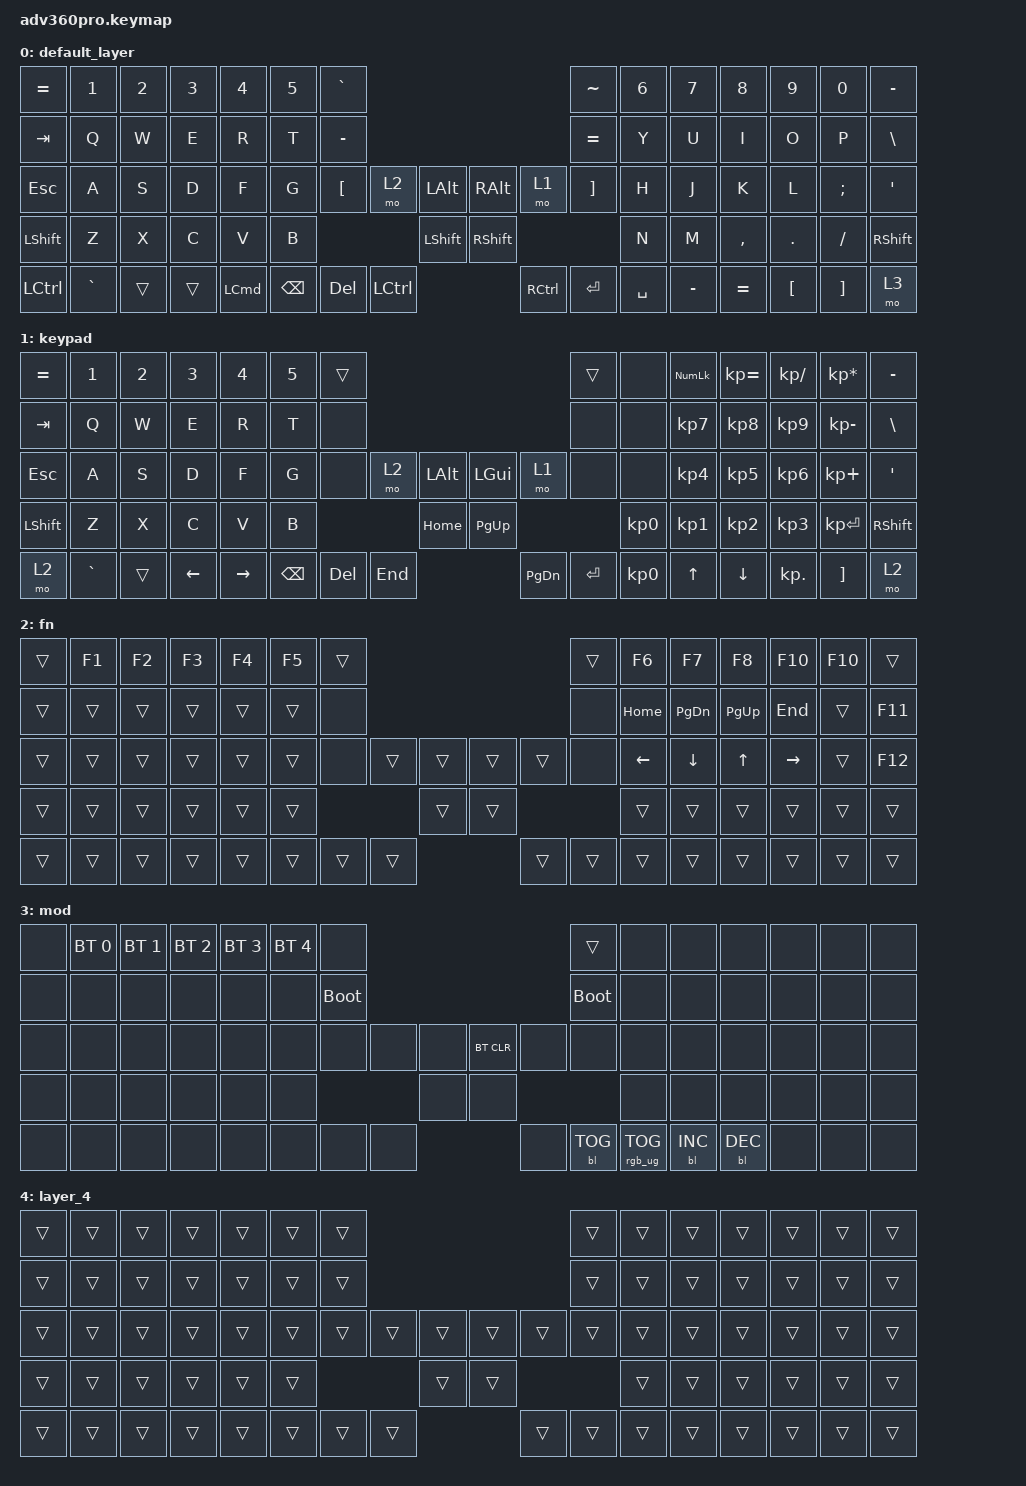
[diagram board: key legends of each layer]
#include <behaviors.dtsi>
#include <dt-bindings/zmk/backlight.h>
#include <dt-bindings/zmk/bt.h>
#include <dt-bindings/zmk/keys.h>
#include <dt-bindings/zmk/rgb.h>

/ {
    keymap {
        compatible = "zmk,keymap";

        default_layer {
            bindings = <
&kp EQUAL         &kp N1     &kp N2  &kp N3  &kp N4            &kp N5  &kp GRAVE                                                                                             &kp TILDE          &kp N6  &kp N7     &kp N8     &kp N9    &kp N0         &kp MINUS
&kp TAB           &kp Q      &kp W   &kp E   &kp R             &kp T   &kp MINUS                                                                                             &kp EQUAL          &kp Y   &kp U      &kp I      &kp O     &kp P          &kp BSLH
&kp ESC           &kp A      &kp S   &kp D   &kp F             &kp G   &kp LEFT_BRACKET                 &mo 2       &kp LALT          &kp RIGHT_ALT    &mo 1                 &kp RIGHT_BRACKET  &kp H   &kp J      &kp K      &kp L     &kp SEMICOLON  &kp SINGLE_QUOTE
&kp LSHFT         &kp Z      &kp X   &kp C   &kp V             &kp B                                                &kp LEFT_SHIFT    &kp RIGHT_SHIFT                                           &kp N   &kp M      &kp COMMA  &kp DOT   &kp FSLH       &kp RSHFT
&kp LEFT_CONTROL  &kp GRAVE  &trans  &trans  &kp LEFT_COMMAND                            &kp BACKSPACE  &kp DELETE  &kp LCTRL         &kp RCTRL        &kp ENTER  &kp SPACE                             &kp MINUS  &kp EQUAL  &kp LBKT  &kp RBKT       &mo 3
            >;
        };

        keypad {
            bindings = <
&kp EQUAL  &kp N1     &kp N2  &kp N3    &kp N4     &kp N5  &trans                                                                  &trans  &none            &kp KP_NUM  &kp KP_EQUAL  &kp KP_DIVIDE  &kp KP_MULTIPLY  &kp MINUS
&kp TAB    &kp Q      &kp W   &kp E     &kp R      &kp T   &none                                                                   &none   &none            &kp KP_N7   &kp KP_N8     &kp KP_N9      &kp KP_MINUS     &kp BSLH
&kp ESC    &kp A      &kp S   &kp D     &kp F      &kp G   &none             &mo 2    &kp LALT    &kp LGUI   &mo 1                 &none   &none            &kp KP_N4   &kp KP_N5     &kp KP_N6      &kp KP_PLUS      &kp SQT
&kp LSHFT  &kp Z      &kp X   &kp C     &kp V      &kp B                              &kp HOME    &kp PG_UP                                &kp KP_NUMBER_0  &kp KP_N1   &kp KP_N2     &kp KP_N3      &kp KP_ENTER     &kp RSHFT
&mo 2      &kp GRAVE  &trans  &kp LEFT  &kp RIGHT                  &kp BSPC  &kp DEL  &kp END     &kp PG_DN  &kp ENTER  &kp KP_N0                           &kp UP      &kp DOWN      &kp KP_DOT     &kp RBKT         &mo 2
            >;
        };

        fn {
            bindings = <
&trans  &kp F1  &kp F2  &kp F3  &kp F4  &kp F5  &trans                                                    &trans  &kp F6          &kp F7          &kp F8        &kp F10          &kp F10  &trans
&trans  &trans  &trans  &trans  &trans  &trans  &none                                                     &none   &kp HOME        &kp PAGE_DOWN   &kp PAGE_UP   &kp END          &trans   &kp F11
&trans  &trans  &trans  &trans  &trans  &trans  &none           &trans  &trans    &trans  &trans          &none   &kp LEFT_ARROW  &kp DOWN_ARROW  &kp UP_ARROW  &kp RIGHT_ARROW  &trans   &kp F12
&trans  &trans  &trans  &trans  &trans  &trans                          &trans    &trans                          &trans          &trans          &trans        &trans           &trans   &trans
&trans  &trans  &trans  &trans  &trans                  &trans  &trans  &trans    &trans  &trans  &trans                          &trans          &trans        &trans           &trans   &trans
            >;
        };

        mod {
            bindings = <
&none  &bt BT_SEL 0  &bt BT_SEL 1  &bt BT_SEL 2  &bt BT_SEL 3  &bt BT_SEL 4  &none                                                                        &trans       &none  &none       &none       &none  &none  &none
&none  &none         &none         &none         &none         &none         &bootloader                                                                  &bootloader  &none  &none       &none       &none  &none  &none
&none  &none         &none         &none         &none         &none         &none               &none  &none    &bt BT_CLR  &none                        &none        &none  &none       &none       &none  &none  &none
&none  &none         &none         &none         &none         &none                                    &none    &none                                                 &none  &none       &none       &none  &none  &none
&none  &none         &none         &none         &none                                    &none  &none  &none    &none       &bl BL_TOG  &rgb_ug RGB_TOG                      &bl BL_INC  &bl BL_DEC  &none  &none  &none
            >;
        };

        layer_4 {
            bindings = <
&trans  &trans  &trans  &trans  &trans  &trans  &trans                                                    &trans  &trans  &trans  &trans  &trans  &trans  &trans
&trans  &trans  &trans  &trans  &trans  &trans  &trans                                                    &trans  &trans  &trans  &trans  &trans  &trans  &trans
&trans  &trans  &trans  &trans  &trans  &trans  &trans          &trans  &trans    &trans  &trans          &trans  &trans  &trans  &trans  &trans  &trans  &trans
&trans  &trans  &trans  &trans  &trans  &trans                          &trans    &trans                          &trans  &trans  &trans  &trans  &trans  &trans
&trans  &trans  &trans  &trans  &trans                  &trans  &trans  &trans    &trans  &trans  &trans                  &trans  &trans  &trans  &trans  &trans
            >;
        };
    };
};
